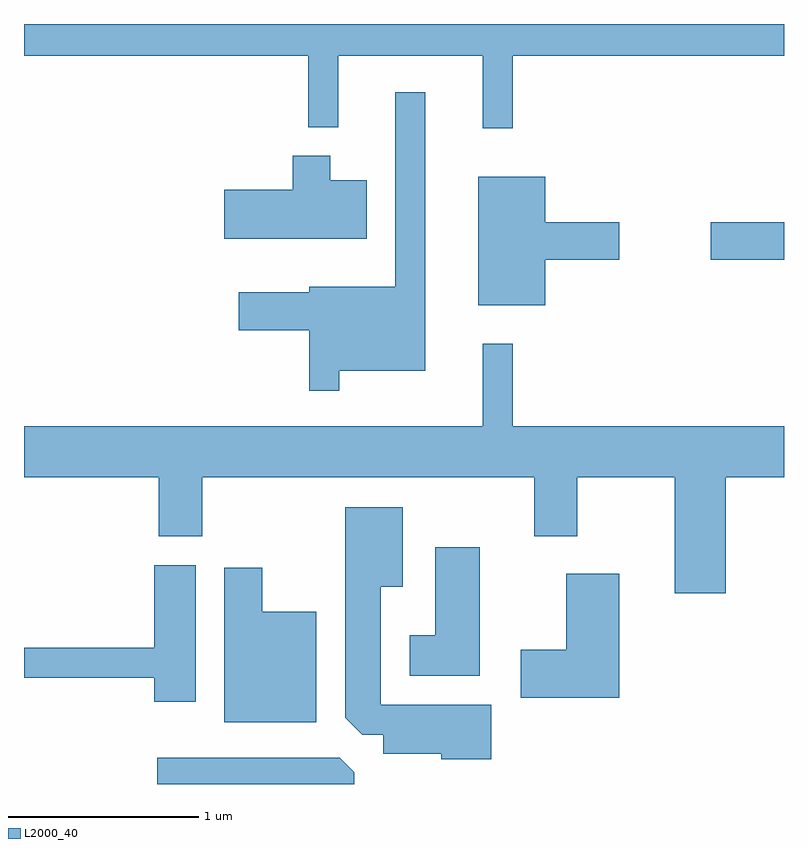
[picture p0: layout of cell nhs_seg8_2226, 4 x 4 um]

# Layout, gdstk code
import gdstk
lib = gdstk.Library(unit=1e-6, precision=1e-09)
def R(c, l, rs):  # rectangles x0, y0, x1, y1
    for r in rs: c.add(gdstk.rectangle(r[:2], r[2:], *l))
def P(c, l, *ps):  # polygons
    for p in ps: c.add(gdstk.Polygon(p, *l))
L2000_40 = (2000, 40)

nhs_seg8_2226 = lib.new_cell('nhs_seg8_2226')
R(nhs_seg8_2226, L2000_40, [(255.226,1853.101,255.611,1853.299)])
P(nhs_seg8_2226, L2000_40, [(251.611,1854.176),(253.106,1854.176),(253.106,1853.798),(253.264,1853.798),(253.264,1854.176),(254.026,1854.176),(254.026,1853.793),(254.184,1853.793),(254.184,1854.176),(255.611,1854.176),(255.611,1854.342),(251.611,1854.342)],
  [(253.269,1852.516),(253.724,1852.516),(253.724,1853.983),(253.566,1853.983),(253.566,1852.959),(253.111,1852.959),(253.111,1852.929),(252.741,1852.929),(252.741,1852.731),(253.111,1852.731),(253.111,1852.413),(253.269,1852.413)],
  [(253.414,1853.519),(253.224,1853.519),(253.224,1853.649),(253.026,1853.649),(253.026,1853.469),(252.666,1853.469),(252.666,1853.211),(253.414,1853.211)],
  [(254.354,1853.101),(254.744,1853.101),(254.744,1853.299),(254.354,1853.299),(254.354,1853.539),(254.001,1853.539),(254.001,1852.861),(254.354,1852.861)],
  [(255.304,1851.956),(255.611,1851.956),(255.611,1852.224),(254.184,1852.224),(254.184,1852.658),(254.026,1852.658),(254.026,1852.224),(251.611,1852.224),(251.611,1851.956),(252.321,1851.956),(252.321,1851.646),(252.549,1851.646),(252.549,1851.956),(254.296,1851.956),(254.296,1851.646),(254.524,1851.646),(254.524,1851.956),(255.036,1851.956),(255.036,1851.346),(255.304,1851.346)],
  [(254.069,1850.759),(253.489,1850.759),(253.489,1851.381),(253.604,1851.381),(253.604,1851.799),(253.301,1851.799),(253.301,1850.692),(253.392,1850.601),(253.501,1850.601),(253.501,1850.501),(253.806,1850.501),(253.806,1850.471),(254.069,1850.471)],
  [(254.009,1851.589),(253.776,1851.589),(253.776,1851.124),(253.641,1851.124),(253.641,1850.911),(254.009,1850.911)],
  [(252.514,1851.494),(252.296,1851.494),(252.296,1851.059),(251.611,1851.059),(251.611,1850.901),(252.296,1850.901),(252.296,1850.776),(252.514,1850.776)],
  [(253.149,1851.249),(252.864,1851.249),(252.864,1851.479),(252.666,1851.479),(252.666,1850.666),(253.149,1850.666)],
  [(254.744,1851.449),(254.466,1851.449),(254.466,1851.049),(254.226,1851.049),(254.226,1850.796),(254.744,1850.796)],
  [(253.349,1850.404),(253.274,1850.479),(252.313,1850.479),(252.313,1850.342),(253.349,1850.342)])

lib.write_gds('nhs_seg8_2226.gds')
